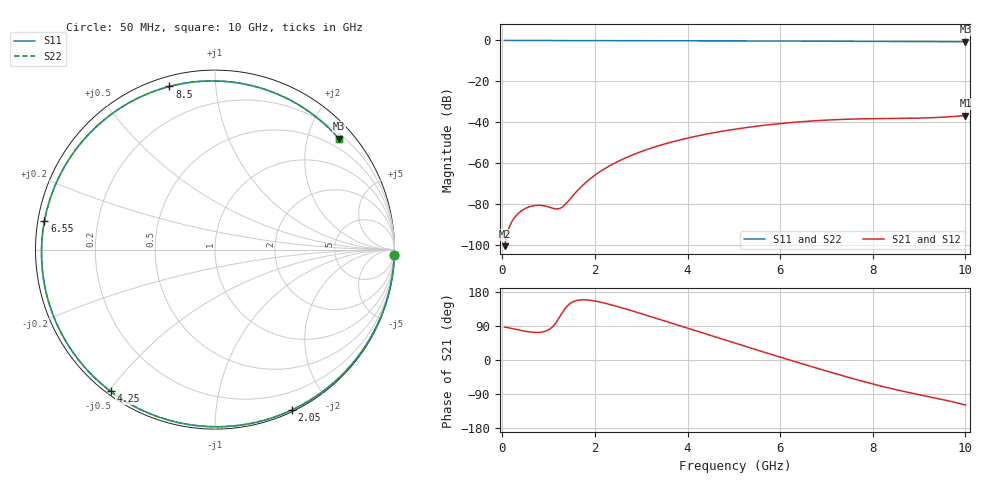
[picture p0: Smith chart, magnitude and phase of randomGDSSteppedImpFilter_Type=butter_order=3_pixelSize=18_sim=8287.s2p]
! freq	dB(S11)	phase(S11)	dB(S12)	phase(S12)
!  dB(S21)	phase(S21)	dB(S22)	phase(S22)
!S-par simulation data
#  GHz  S  DB  R 50
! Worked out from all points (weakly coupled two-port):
!   200 points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, 50 MHz to 10 GHz, reference 50 ohm
!   highest |S21| = -36.72 dB at 10 GHz (marker M1); lowest = -100.6 dB at 50 MHz (marker M2)
!   lowest |S11| = -0.7 dB at 10 GHz (marker M3), VSWR 26.05, Z = 14.8 + j129 ohm
!   |S11| at or under -10 dB: nowhere
!   |S22| runs from -0.7 to 0.0 dB; largest |S21 - S12| = 0
!   S11 on the Smith chart (normalised r, x): 50 MHz: 1, -69; 2.05 GHz: 0.02, -1.59; 4.25 GHz: 0.01, -0.51; 6.55 GHz: 0.02, +0.08; 8.5 GHz: 0.05, +0.76; 10 GHz: 0.30, +2.58
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0.05  -0.00 -1.7  -100.63 86.8  -100.63 86.8  -0.00 -1.7
0.65  -0.02 -21.0  -80.95 73.3  -80.95 73.3  -0.02 -21.0
1.35  -0.05 -43.1  -80.44 134.6  -80.44 134.6  -0.05 -43.1
1.4  -0.06 -44.7  -79.24 142.0  -79.24 142.0  -0.06 -44.7
1.75  -0.07 -55.4  -70.55 158.9  -70.55 158.9  -0.07 -55.4
2.05  -0.08 -64.4  -65.09 154.5  -65.09 154.5  -0.08 -64.4
2.65  -0.10 -82.1  -57.56 135.3  -57.56 135.3  -0.10 -82.1
3.4  -0.13 -103.2  -51.34 107.0  -51.34 107.0  -0.13 -103.2
4.25  -0.17 -126.4  -46.52 74.1  -46.52 74.1  -0.17 -126.4
5.05  -0.21 -147.8  -43.32 43.5  -43.32 43.5  -0.21 -147.8
5.8  -0.26 -168.2  -41.13 15.1  -41.13 15.1  -0.26 -168.2
6.55  -0.32 170.5  -39.59 -12.8  -39.59 -12.8  -0.32 170.5
6.7  -0.34 166.1  -39.36 -18.3  -39.36 -18.3  -0.34 166.0
7.1  -0.37 153.9  -38.85 -32.7  -38.85 -32.7  -0.37 153.9
7.5  -0.41 141.1  -38.50 -46.7  -38.50 -46.7  -0.41 141.1
7.9  -0.44 127.5  -38.29 -60.0  -38.29 -60.0  -0.45 127.5
8.35  -0.49 111.3  -38.17 -73.9  -38.17 -73.9  -0.49 111.3
8.5  -0.50 105.6  -38.14 -78.3  -38.14 -78.3  -0.50 105.6
8.9  -0.54 89.8  -38.03 -89.1  -38.03 -89.1  -0.54 89.8
9.25  -0.58 75.2  -37.82 -97.9  -37.82 -97.9  -0.58 75.2
9.6  -0.62 60.0  -37.41 -106.9  -37.41 -106.9  -0.62 60.0
10  -0.67 41.9  -36.72 -119.1  -36.72 -119.1  -0.67 41.9
